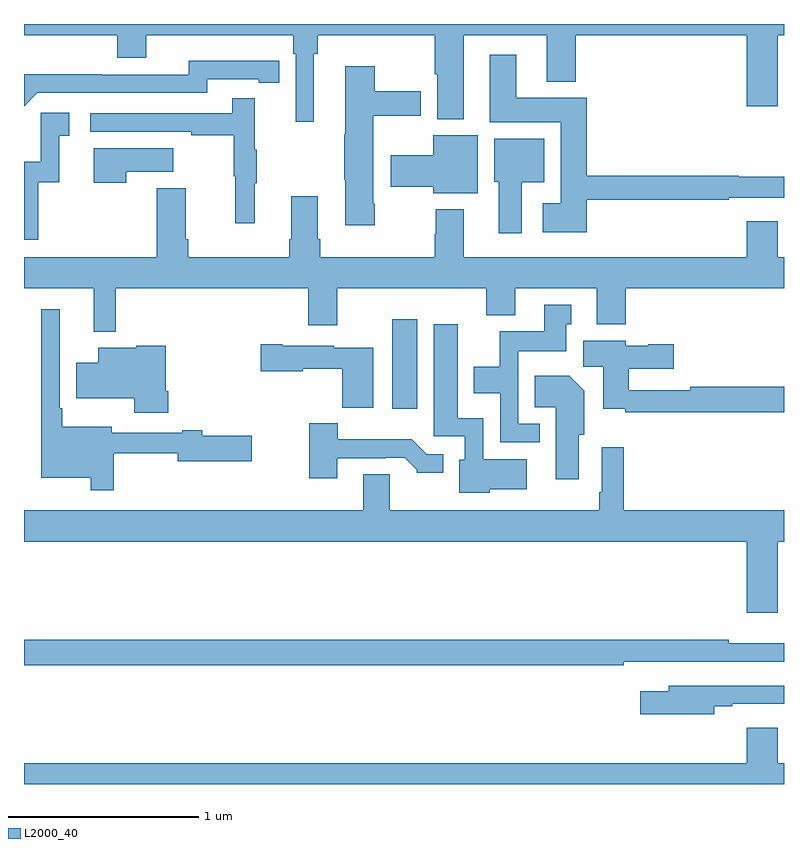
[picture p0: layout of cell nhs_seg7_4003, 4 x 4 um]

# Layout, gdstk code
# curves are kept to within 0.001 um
import gdstk
lib = gdstk.Library(unit=1e-6, precision=1e-09)
def R(c, l, rs):  # rectangles x0, y0, x1, y1
    for r in rs: c.add(gdstk.rectangle(r[:2], r[2:], *l))
def P(c, l, *ps):  # polygons
    for p in ps: c.add(gdstk.Polygon(p, *l))
L2000_40 = (2000, 40)

nhs_seg7_4003 = lib.new_cell('nhs_seg7_4003')
R(nhs_seg7_4003, L2000_40, [(366.938,1007.976,367.069,1008.445)])
P(nhs_seg7_4003, L2000_40, [(366.526,1009.844),(366.545,1009.844),(366.545,1009.94),(367.163,1009.94),(367.163,1009.735),(367.175,1009.735),(367.175,1009.499),(367.315,1009.499),(367.315,1009.94),(367.751,1009.94),(367.751,1009.697),(367.904,1009.697),(367.904,1009.94),(368.804,1009.94),(368.804,1009.566),(368.968,1009.566),(368.968,1009.94),(369,1009.94),(369,1010),(365,1010),(365,1009.94),(365.492,1009.94),(365.492,1009.823),(365.644,1009.823),(365.644,1009.94),(366.416,1009.94),(366.416,1009.844),(366.429,1009.844),(366.429,1009.485),(366.526,1009.485)],
  [(367.961,1009.074),(368.708,1009.074),(368.708,1009.086),(369,1009.086),(369,1009.195),(368.762,1009.195),(368.762,1009.202),(367.961,1009.202),(367.961,1009.612),(367.591,1009.612),(367.591,1009.837),(367.451,1009.837),(367.451,1009.484),(367.826,1009.484),(367.826,1009.057),(367.731,1009.057),(367.731,1008.905),(367.961,1008.905)],
  [(365.07,1009.638),(365.964,1009.638),(365.964,1009.71),(366.236,1009.71),(366.236,1009.69),(366.344,1009.69),(366.344,1009.806),(365.868,1009.807),(365.868,1009.734),(365.408,1009.734),(365.408,1009.736),(365,1009.736),(365,1009.568)],
  [(366.846,1009.054),(366.838,1009.054),(366.838,1009.517),(367.087,1009.517),(367.087,1009.647),(366.846,1009.647),(366.846,1009.777),(366.692,1009.777),(366.692,1009.421),(366.685,1009.421),(366.685,1009.18),(366.692,1009.18),(366.692,1008.942),(366.846,1008.942)],
  [(366.215,1009.163),(366.226,1009.163),(366.226,1009.337),(366.215,1009.337),(366.215,1009.609),(366.097,1009.609),(366.097,1009.53),(365.349,1009.53),(365.349,1009.434),(365.881,1009.434),(365.881,1009.414),(366.105,1009.414),(366.105,1009.2),(366.112,1009.2),(366.112,1008.951),(366.215,1008.951)],
  [(365.075,1009.167),(365.186,1009.167),(365.186,1009.413),(365.239,1009.413),(365.239,1009.534),(365.088,1009.534),(365.088,1009.275),(365,1009.275),(365,1008.864),(365.075,1008.864)],
  [(367.387,1009.414),(367.154,1009.414),(367.154,1009.309),(366.93,1009.309),(366.93,1009.144),(367.154,1009.144),(367.154,1009.109),(367.387,1009.109)],
  [(367.621,1009.166),(367.738,1009.166),(367.738,1009.396),(367.475,1009.396),(367.475,1009.17),(367.499,1009.17),(367.499,1008.9),(367.621,1008.9)],
  [(365.537,1009.223),(365.785,1009.223),(365.785,1009.345),(365.366,1009.345),(365.366,1009.164),(365.537,1009.164)],
  [(365.483,1008.608),(366.497,1008.608),(366.497,1008.414),(366.649,1008.414),(366.649,1008.608),(367.433,1008.608),(367.433,1008.467),(367.585,1008.467),(367.585,1008.608),(368.015,1008.608),(368.015,1008.419),(368.168,1008.419),(368.168,1008.608),(369,1008.608),(369,1008.772),(368.968,1008.772),(368.968,1008.961),(368.804,1008.961),(368.804,1008.772),(367.315,1008.772),(367.315,1009.024),(367.168,1009.024),(367.168,1008.893),(367.163,1008.893),(367.163,1008.772),(366.56,1008.772),(366.56,1008.868),(366.547,1008.868),(366.547,1009.093),(366.407,1009.093),(366.407,1008.868),(366.395,1008.868),(366.395,1008.772),(365.864,1008.772),(365.864,1008.868),(365.851,1008.868),(365.851,1009.135),(365.699,1009.135),(365.699,1008.772),(365,1008.772),(365,1008.608),(365.366,1008.608),(365.366,1008.38),(365.483,1008.38)],
  [(367.714,1007.895),(367.602,1007.895),(367.602,1008.278),(367.855,1008.278),(367.855,1008.42),(367.879,1008.42),(367.879,1008.523),(367.739,1008.523),(367.739,1008.382),(367.504,1008.382),(367.504,1008.196),(367.367,1008.196),(367.367,1008.056),(367.506,1008.056),(367.506,1007.799),(367.714,1007.799)],
  [(365.473,1007.742),(365.81,1007.742),(365.81,1007.699),(366.199,1007.699),(366.199,1007.834),(365.938,1007.834),(365.938,1007.863),(365.834,1007.863),(365.834,1007.85),(365.461,1007.85),(365.461,1007.881),(365.2,1007.881),(365.2,1007.977),(365.187,1007.977),(365.187,1008.499),(365.09,1008.499),(365.09,1007.612),(365.352,1007.612),(365.352,1007.547),(365.473,1007.547)],
  [(367.452,1007.552),(367.645,1007.552),(367.645,1007.71),(367.416,1007.71),(367.416,1007.926),(367.282,1007.926),(367.282,1008.421),(367.157,1008.421),(367.157,1007.829),(367.32,1007.829),(367.32,1007.706),(367.292,1007.706),(367.292,1007.534),(367.452,1007.534)],
  [(369,1008.092),(368.506,1008.092),(368.506,1008.072),(368.183,1008.072),(368.183,1008.185),(368.419,1008.185),(368.419,1008.315),(368.286,1008.315),(368.286,1008.307),(368.166,1008.307),(368.166,1008.334),(367.943,1008.334),(367.943,1008.196),(368.048,1008.196),(368.048,1007.975),(368.164,1007.975),(368.164,1007.956),(369,1007.956)],
  [(366.838,1008.295),(366.63,1008.295),(366.63,1008.307),(366.358,1008.307),(366.358,1008.315),(366.246,1008.315),(366.246,1008.173),(366.468,1008.173),(366.468,1008.185),(366.676,1008.185),(366.676,1007.981),(366.838,1007.981)],
  [(365.759,1008.067),(365.746,1008.067),(365.746,1008.307),(365.592,1008.307),(365.592,1008.295),(365.39,1008.295),(365.39,1008.217),(365.276,1008.217),(365.276,1008.029),(365.581,1008.029),(365.581,1007.955),(365.759,1007.955)],
  [(367.921,1007.838),(367.948,1007.838),(367.948,1008.07),(367.87,1008.148),(367.687,1008.148),(367.687,1007.984),(367.799,1007.984),(367.799,1007.604),(367.921,1007.604)],
  [(366.649,1007.715),(366.905,1007.715),(366.905,1007.718),(367.004,1007.718),(367.068,1007.654),(367.068,1007.639),(367.207,1007.639),(367.207,1007.736),(367.119,1007.736),(367.041,1007.815),(366.652,1007.815),(366.652,1007.899),(366.502,1007.899),(366.502,1007.61),(366.649,1007.61)],
  [(368.968,1007.276),(369,1007.276),(369,1007.44),(368.156,1007.44),(368.156,1007.773),(368.04,1007.773),(368.04,1007.536),(368.028,1007.536),(368.028,1007.44),(366.925,1007.44),(366.925,1007.63),(366.785,1007.63),(366.785,1007.44),(365,1007.44),(365,1007.276),(368.804,1007.276),(368.804,1006.902),(368.968,1006.902)],
  [(368.156,1006.644),(369,1006.644),(369,1006.741),(368.708,1006.741),(368.708,1006.76),(365,1006.76),(365,1006.624),(368.156,1006.624)],
  [(368.632,1006.41),(368.728,1006.41),(368.728,1006.422),(369,1006.422),(369,1006.518),(368.393,1006.518),(368.393,1006.489),(368.244,1006.489),(368.244,1006.367),(368.632,1006.367)],
  [(369,1006.108),(368.968,1006.108),(368.968,1006.297),(368.804,1006.297),(368.804,1006.108),(365,1006.108),(365,1006),(369,1006)])

lib.write_gds('nhs_seg7_4003.gds')
